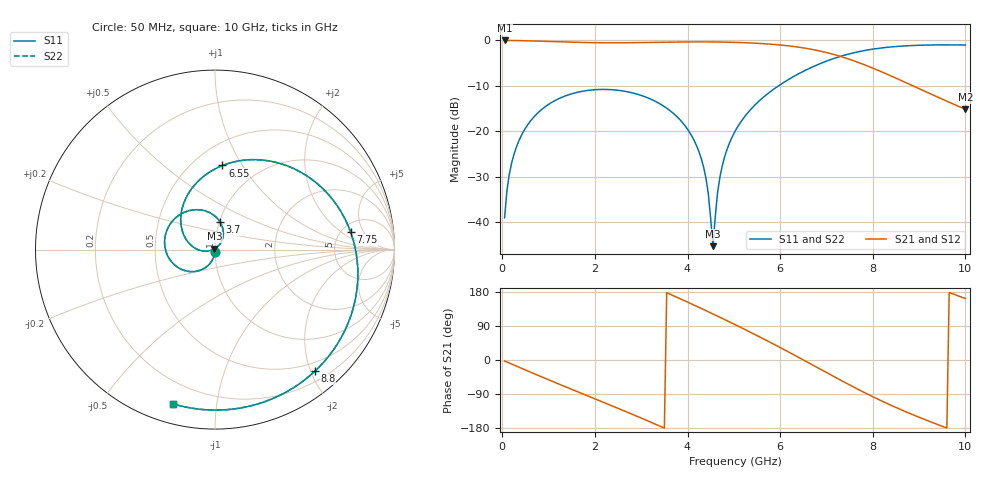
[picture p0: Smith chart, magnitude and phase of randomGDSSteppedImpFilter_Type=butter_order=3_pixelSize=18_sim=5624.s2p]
! freq	dB(S11)	phase(S11)	dB(S12)	phase(S12)
!  dB(S21)	phase(S21)	dB(S22)	phase(S22)
!S-par simulation data
#  GHz  S  DB  R 50
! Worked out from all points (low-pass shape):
!   200 points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, 50 MHz to 10 GHz, reference 50 ohm
!   highest |S21| = 0.00 dB at 50 MHz (marker M1); lowest = -15.2 dB at 10 GHz (marker M2)
!   |S21| within 3 dB of the highest: start of sweep to 7.128 GHz
!   lowest |S11| = -45.3 dB at 4.55 GHz (marker M3), VSWR 1.01, Z = 49.7 + j0.44 ohm
!   |S11| at or under -10 dB: start of sweep to 5.964 GHz
!   |S22| runs from -45.6 to -1.0 dB; largest |S21 - S12| = 0
!   S11 on the Smith chart (normalised r, x): 50 MHz: 1.00, -0.02; 3.7 GHz: 1.01, +0.32; 6.55 GHz: 0.68, +0.82; 7.75 GHz: 6.04, +2.84; 8.8 GHz: 0.35, -2.06; 10 GHz: 0.09, -0.76
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0.05  -39.07 -92.4  -0.00 -2.7  -0.00 -2.7  -39.07 -92.4
0.2  -27.07 -100.6  -0.01 -10.6  -0.01 -10.6  -27.07 -100.6
0.5  -19.33 -116.6  -0.07 -26.4  -0.07 -26.4  -19.33 -116.6
1.15  -13.17 -150.5  -0.28 -59.9  -0.28 -59.9  -13.17 -150.5
1.75  -11.16 179.3  -0.45 -90.0  -0.45 -90.0  -11.16 179.3
2.5  -10.98 141.9  -0.51 -127.5  -0.51 -127.5  -10.98 141.8
3.4  -13.93 95.6  -0.40 -174.3  -0.40 -174.3  -13.93 95.5
3.7  -16.12 79.7  -0.36 169.5  -0.36 169.5  -16.12 79.6
4.3  -26.14 50.0  -0.32 135.9  -0.32 135.9  -26.14 49.8
4.45  -33.87 49.8  -0.32 127.2  -0.32 127.2  -33.89 49.1
4.55  -45.32 125.2  -0.33 121.5  -0.33 121.5  -45.61 125.3
4.7  -30.06 -167.8  -0.35 112.7  -0.35 112.7  -30.08 -167.5
5.05  -19.58 177.7  -0.43 91.9  -0.43 91.9  -19.59 177.8
5.9  -10.45 126.8  -0.90 39.3  -0.90 39.3  -10.45 126.8
6.55  -6.55 84.9  -1.72 -3.0  -1.72 -3.0  -6.55 84.9
6.7  -5.82 75.1  -1.99 -13.0  -1.99 -13.0  -5.82 75.0
7.25  -3.67 39.0  -3.35 -49.6  -3.35 -49.6  -3.67 38.9
7.75  -2.36 7.4  -5.08 -81.7  -5.08 -81.7  -2.36 7.3
8.35  -1.47 -27.3  -7.62 -117.0  -7.62 -117.0  -1.47 -27.4
8.8  -1.14 -50.7  -9.68 -141.1  -9.68 -141.1  -1.14 -50.8
9.4  -0.98 -79.0  -12.47 -170.4  -12.47 -170.4  -0.98 -79.1
10  -1.01 -105.2  -15.18 162.2  -15.18 162.2  -1.01 -105.3
